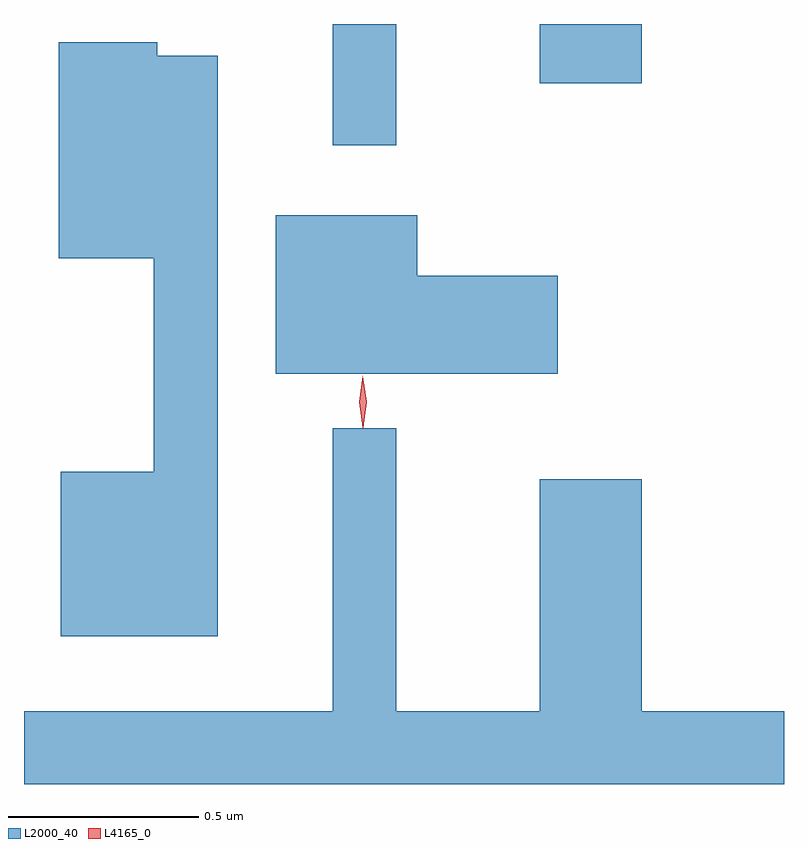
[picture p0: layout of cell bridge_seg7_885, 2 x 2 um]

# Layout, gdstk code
import gdstk
lib = gdstk.Library(unit=1e-6, precision=1e-09)
def R(c, l, rs):  # rectangles x0, y0, x1, y1
    for r in rs: c.add(gdstk.rectangle(r[:2], r[2:], *l))
def P(c, l, *ps):  # polygons
    for p in ps: c.add(gdstk.Polygon(p, *l))
L2000_40 = (2000, 40)
L4165_0 = (4165, 0)

bridge_seg7_885 = lib.new_cell('bridge_seg7_885')
R(bridge_seg7_885, L2000_40, [(314.431,1720.513,314.599,1720.832), (314.976,1720.676,315.244,1720.832)])
P(bridge_seg7_885, L2000_40, [(314.129,1720.749),(313.969,1720.749),(313.969,1720.784),(313.711,1720.784),(313.711,1720.216),(313.961,1720.216),(313.961,1719.654),(313.716,1719.654),(313.716,1719.221),(314.129,1719.221)],
  [(315.024,1720.169),(314.654,1720.169),(314.654,1720.329),(314.281,1720.329),(314.281,1719.911),(315.024,1719.911)],
  [(315.619,1719.024),(315.244,1719.024),(315.244,1719.634),(314.976,1719.634),(314.976,1719.024),(314.599,1719.024),(314.599,1719.768),(314.431,1719.768),(314.431,1719.024),(313.619,1719.024),(313.619,1718.832),(315.619,1718.832)])
P(bridge_seg7_885, L4165_0, [(314.511,1719.77),(314.511,1719.77),(314.501,1719.838),(314.51,1719.905),(314.511,1719.906),(314.511,1719.905),(314.521,1719.838),(314.512,1719.77)],
  [(314.511,1719.773),(314.511,1719.773),(314.501,1719.836),(314.51,1719.899),(314.511,1719.9),(314.511,1719.899),(314.521,1719.836),(314.512,1719.773)])

lib.write_gds('bridge_seg7_885.gds')
